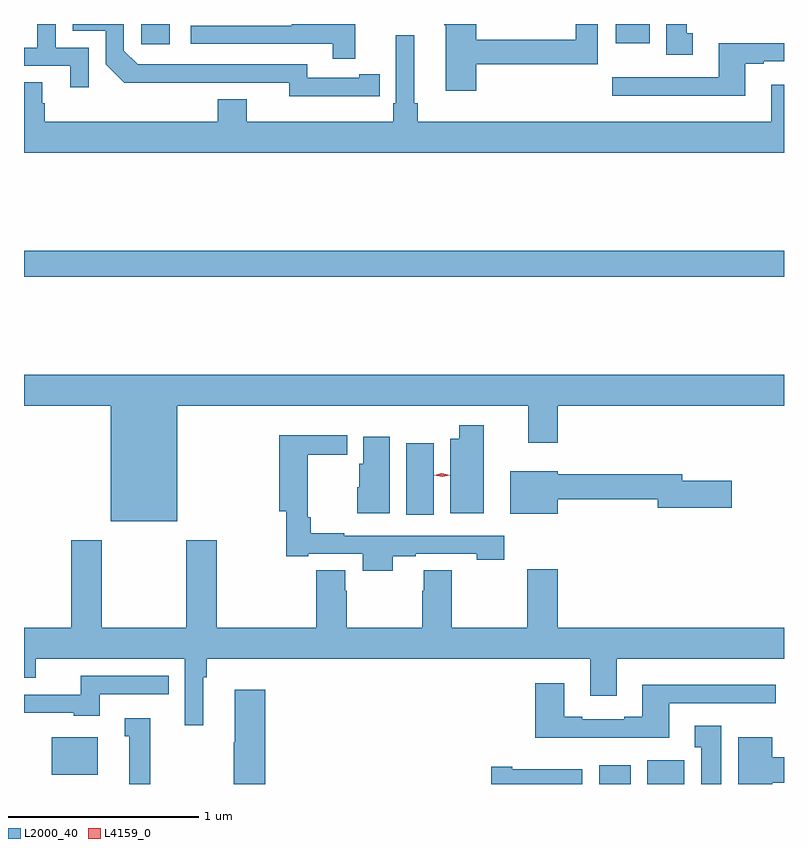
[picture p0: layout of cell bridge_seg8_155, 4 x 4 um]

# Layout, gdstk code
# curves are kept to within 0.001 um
import gdstk
lib = gdstk.Library(unit=1e-6, precision=1e-09)
def R(c, l, rs):  # rectangles x0, y0, x1, y1
    for r in rs: c.add(gdstk.rectangle(r[:2], r[2:], *l))
def P(c, l, *ps):  # polygons
    for p in ps: c.add(gdstk.Polygon(p, *l))
L2000_40 = (2000, 40)
L4159_0 = (4159, 0)

bridge_seg8_155 = lib.new_cell('bridge_seg8_155')
R(bridge_seg8_155, L2000_40, [(579.287,1153.138,579.454,1153.237), (579.539,1153.138,579.736,1153.264), (576.407,1153.187,576.649,1153.384), (578.273,1154.556,578.416,1154.932), (576.26,1155.808,580.26,1155.944), (576.876,1157.031,577.027,1157.138), (579.374,1157.036,579.553,1157.138)])
P(bridge_seg8_155, L2000_40, [(579.781,1157.09),(579.748,1157.09),(579.748,1157.138),(579.641,1157.138),(579.641,1156.977),(579.781,1156.977)],
  [(576.6,1157.013),(576.426,1157.013),(576.426,1157.138),(576.33,1157.138),(576.33,1157.013),(576.26,1157.013),(576.26,1156.917),(576.503,1156.917),(576.503,1156.806),(576.6,1156.806)],
  [(578.024,1156.758),(578.132,1156.758),(578.132,1156.874),(578.024,1156.874),(578.024,1156.854),(577.752,1156.854),(577.752,1156.926),(576.858,1156.926),(576.786,1156.998),(576.786,1157.138),(576.516,1157.138),(576.516,1157.103),(576.69,1157.103),(576.69,1156.926),(576.788,1156.829),(577.656,1156.83),(577.656,1156.757)],
  [(578.639,1156.926),(579.279,1156.926),(579.279,1157.138),(579.163,1157.138),(579.163,1157.054),(578.639,1157.054),(578.639,1157.138),(578.473,1157.138),(578.473,1157.131),(578.48,1157.131),(578.48,1156.788),(578.639,1156.788)],
  [(578.003,1157.138),(577.669,1157.138),(577.669,1157.13),(577.137,1157.13),(577.137,1157.034),(577.885,1157.034),(577.885,1156.956),(578.003,1156.956)],
  [(578.314,1156.72),(578.314,1157.08),(578.217,1157.08),(578.217,1156.72),(578.204,1156.72),(578.204,1156.624),(577.432,1156.624),(577.432,1156.741),(577.28,1156.741),(577.28,1156.624),(576.368,1156.624),(576.368,1156.722),(576.355,1156.722),(576.355,1156.832),(576.26,1156.832),(576.26,1156.46),(580.26,1156.46),(580.26,1156.819),(580.193,1156.819),(580.193,1156.624),(578.333,1156.624),(578.333,1156.72)],
  [(580.057,1156.929),(580.153,1156.929),(580.153,1156.941),(580.26,1156.941),(580.26,1157.038),(579.917,1157.038),(579.917,1156.857),(579.357,1156.857),(579.357,1156.76),(580.057,1156.76)],
  [(577.066,1155.128),(578.915,1155.128),(578.915,1154.934),(579.068,1154.934),(579.068,1155.128),(580.26,1155.128),(580.26,1155.292),(576.26,1155.292),(576.26,1155.128),(576.716,1155.128),(576.716,1154.522),(577.066,1154.522)],
  [(578.68,1155.025),(578.551,1155.025),(578.551,1154.956),(578.504,1154.956),(578.504,1154.564),(578.68,1154.564)],
  [(578.2,1154.337),(578.323,1154.337),(578.323,1154.349),(578.643,1154.349),(578.643,1154.317),(578.788,1154.317),(578.788,1154.445),(577.946,1154.445),(577.946,1154.458),(577.769,1154.458),(577.769,1154.542),(577.754,1154.542),(577.754,1154.872),(577.96,1154.872),(577.96,1154.974),(577.604,1154.974),(577.604,1154.573),(577.641,1154.573),(577.641,1154.337),(577.756,1154.337),(577.756,1154.349),(578.042,1154.349),(578.042,1154.261),(578.2,1154.261)],
  [(578.185,1154.965),(578.045,1154.965),(578.045,1154.823),(578.024,1154.823),(578.024,1154.7),(578.015,1154.7),(578.015,1154.564),(578.185,1154.564)],
  [(579.07,1154.638),(579.596,1154.638),(579.596,1154.591),(579.985,1154.591),(579.985,1154.733),(579.724,1154.733),(579.724,1154.767),(579.07,1154.767),(579.07,1154.785),(578.819,1154.785),(578.819,1154.561),(579.07,1154.561)],
  [(577.204,1153.7),(577.223,1153.7),(577.223,1153.796),(579.239,1153.796),(579.239,1153.602),(579.379,1153.602),(579.379,1153.796),(580.26,1153.796),(580.26,1153.96),(579.068,1153.96),(579.068,1154.269),(578.908,1154.269),(578.908,1153.96),(578.51,1153.96),(578.51,1154.264),(578.363,1154.264),(578.363,1154.156),(578.356,1154.156),(578.356,1153.96),(577.959,1153.96),(577.959,1154.156),(577.951,1154.156),(577.951,1154.264),(577.799,1154.264),(577.799,1153.96),(577.274,1153.96),(577.274,1154.422),(577.114,1154.422),(577.114,1153.96),(576.669,1153.96),(576.669,1154.422),(576.509,1154.422),(576.509,1153.96),(576.26,1153.96),(576.26,1153.697),(576.322,1153.697),(576.322,1153.796),(577.107,1153.796),(577.107,1153.446),(577.204,1153.446)],
  [(576.658,1153.611),(577.022,1153.611),(577.022,1153.707),(576.559,1153.707),(576.559,1153.608),(576.26,1153.608),(576.26,1153.512),(576.522,1153.512),(576.522,1153.496),(576.658,1153.496)],
  [(579.655,1153.563),(580.216,1153.563),(580.216,1153.66),(579.515,1153.66),(579.515,1153.492),(579.419,1153.492),(579.419,1153.479),(579.199,1153.479),(579.199,1153.492),(579.103,1153.492),(579.103,1153.669),(578.951,1153.669),(578.951,1153.382),(579.655,1153.382)],
  [(577.529,1153.633),(577.37,1153.633),(577.37,1153.358),(577.363,1153.358),(577.363,1153.138),(577.529,1153.138)],
  [(576.925,1153.483),(576.791,1153.483),(576.791,1153.389),(576.815,1153.389),(576.815,1153.138),(576.925,1153.138)],
  [(579.931,1153.444),(579.791,1153.444),(579.791,1153.331),(579.824,1153.331),(579.824,1153.138),(579.931,1153.138)],
  [(580.198,1153.144),(580.26,1153.144),(580.26,1153.28),(580.198,1153.28),(580.198,1153.384),(580.019,1153.384),(580.019,1153.138),(580.198,1153.138)],
  [(579.199,1153.216),(578.83,1153.216),(578.83,1153.229),(578.718,1153.229),(578.718,1153.138),(579.199,1153.138)])
P(bridge_seg8_155, L4159_0, [(578.46,1154.754),(578.419,1154.764),(578.419,1154.764),(578.419,1154.764),(578.459,1154.774),(578.5,1154.764),(578.5,1154.764),(578.5,1154.764)])

lib.write_gds('bridge_seg8_155.gds')
